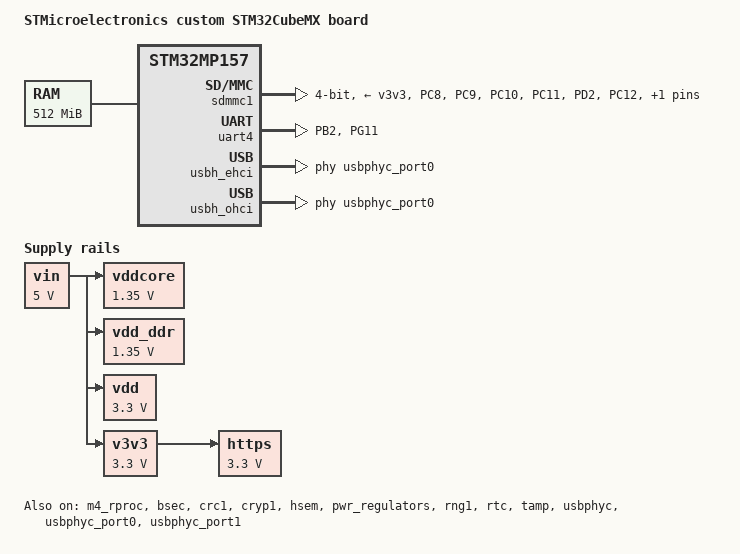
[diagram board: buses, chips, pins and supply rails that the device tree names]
/* SPDX-License-Identifier: (GPL-2.0+ OR BSD-3-Clause) */
/*
 * Copyright (C) STMicroelectronics 2021 - All Rights Reserved
 * Author: STM32CubeMX code generation for STMicroelectronics.
 */

/* For more information on Device Tree configuration, please refer to
 * https://wiki.st.com/stm32mpu/wiki/Category:Device_tree_configuration
 */

/dts-v1/;
#include <dt-bindings/pinctrl/stm32-pinfunc.h>

#include "stm32mp157.dtsi"
#include "stm32mp15xf.dtsi"
#include "stm32mp15xxab-pinctrl.dtsi"
#include "stm32mp15-m4-srm.dtsi"

/* USER CODE BEGIN includes */
#include <dt-bindings/gpio/gpio.h>
#include <dt-bindings/mfd/st,stpmic1.h>
#include <dt-bindings/rtc/rtc-stm32.h>
/* USER CODE END includes */

/ {
	model = "STMicroelectronics custom STM32CubeMX board";
	compatible = "st,stm32mp157f-mp157fab_custom-mx", "st,stm32mp157";

	memory@c0000000 {
		device_type = "memory";
		reg = <0xc0000000 0x20000000>;

		/* USER CODE BEGIN memory */
		/* USER CODE END memory */
	};

	reserved-memory {
		#address-cells = <1>;
		#size-cells = <1>;
		ranges;

		/* USER CODE BEGIN reserved-memory */
		mcuram2:mcuram2@10000000{
			compatible = "shared-dma-pool";
			reg = <0x10000000 0x40000>;
			no-map;
		};

		vdev0vring0:vdev0vring0@10040000{
			compatible = "shared-dma-pool";
			reg = <0x10040000 0x1000>;
			no-map;
		};

		vdev0vring1:vdev0vring1@10041000{
			compatible = "shared-dma-pool";
			reg = <0x10041000 0x1000>;
			no-map;
		};

		vdev0buffer:vdev0buffer@10042000{
			compatible = "shared-dma-pool";
			reg = <0x10042000 0x4000>;
			no-map;
		};

		mcuram:mcuram@30000000{
			compatible = "shared-dma-pool";
			reg = <0x30000000 0x40000>;
			no-map;
		};

		retram:retram@38000000{
			compatible = "shared-dma-pool";
			reg = <0x38000000 0x10000>;
			no-map;
		};

		gpu_reserved:gpu@d4000000{
			reg = <0xd4000000 0x4000000>;
			no-map;
		};
		/* USER CODE END reserved-memory */
	};

	/* USER CODE BEGIN root */
	usb_phy_tuning:usb-phy-tuning{
		st,hs-dc-level = <2>;
		st,fs-rftime-tuning;
		st,hs-rftime-reduction;
		st,hs-current-trim = <15>;
		st,hs-impedance-trim = <1>;
		st,squelch-level = <3>;
		st,hs-rx-offset = <2>;
		st,no-lsfs-sc;
	};
	
	aliases{
		serial0 = &uart4;
	};
	
	chosen{
		stdout-path = "serial0:115200n8";
	};
	
	vin: vin {
		compatible = "regulator-fixed";
		regulator-name = "vin";
		regulator-min-microvolt = <5000000>;
		regulator-max-microvolt = <5000000>;
		regulator-always-on;
	};
	
	// http://www.ti.com/lit/ds/symlink/tps54202.pdf
    vddcore: TPS54202 {
    	
      compatible = "regulator-fixed";
      regulator-name = "vddcore";
      regulator-min-microvolt = <1350000>;
      regulator-max-microvolt = <1350000>;
      regulator-always-on;
      vin-supply = <&vin>;

    };
    
    // http://www.ti.com/lit/ds/symlink/tps54202.pdf
    vdd_ddr: TPS54202 {

        compatible = "regulator-fixed";
        regulator-name = "vdd_ddr";
        regulator-min-microvolt = <1350000>;
        regulator-max-microvolt = <1350000>;
        regulator-always-on;
        vin-supply = <&vin>;
    };
    
    // https://datasheet.lcsc.com/szlcsc/1912111437_Seaward-Elec-SE8233X2_C437587.pdf
    vdd: SE8233X2 {

        compatible = "regulator-fixed";
        regulator-name = "vdd";
        regulator-min-microvolt = <3300000>;
        regulator-max-microvolt = <3300000>;
        regulator-always-on;
        vin-supply = <&vin>;
    };
    
    // https://datasheet.lcsc.com/szlcsc/1912111437_Seaward-Elec-SE8233X2_C437587.pdf
    v3v3: SE8233X2 {
    	
        compatible = "regulator-fixed";
        regulator-name = "v3v3";
      
        regulator-max-microvolt = <3300000>;
        regulator-always-on;
        vin-supply = <&vin>;
    	
    };
    
    https://datasheet.octopart.com/DMG2302U-7-Diodes-Inc.-datasheet-103571615.pdf
    vdd_usb: DMG2302U {
        compatible = "regulator-fixed";
		regulator-name = "vdd_usb";
		regulator-min-microvolt = <3300000>;
		regulator-max-microvolt = <3300000>;
		regulator-always-on;
		vin-supply = <&v3v3>;
    };

	
	/* USER CODE END root */

	clocks {
		/* USER CODE BEGIN clocks */
		/* USER CODE END clocks */

#ifndef CONFIG_TFABOOT
		clk_lsi: clk-lsi {
			clock-frequency = <32000>;
		};
		clk_hsi: clk-hsi {
			clock-frequency = <64000000>;
		};
		clk_csi: clk-csi {
			clock-frequency = <4000000>;
		};
		clk_lse: clk-lse {
			clock-frequency = <32768>;
		};
		clk_hse: clk-hse {
			clock-frequency = <24000000>;
		};
#endif	/*CONFIG_TFABOOT*/
	};

}; /*root*/

&pinctrl {
	u-boot,dm-pre-reloc;

	sdmmc1_pins_mx: sdmmc1_mx-0 {
		u-boot,dm-pre-reloc;
		pins1 {
			u-boot,dm-pre-reloc;
			pinmux = <STM32_PINMUX('C', 8, AF12)>, /* SDMMC1_D0 */
					 <STM32_PINMUX('C', 9, AF12)>, /* SDMMC1_D1 */
					 <STM32_PINMUX('C', 10, AF12)>, /* SDMMC1_D2 */
					 <STM32_PINMUX('C', 11, AF12)>, /* SDMMC1_D3 */
					 <STM32_PINMUX('D', 2, AF12)>; /* SDMMC1_CMD */
			bias-disable;
			drive-push-pull;
			slew-rate = <1>;
		};
		pins2 {
			u-boot,dm-pre-reloc;
			pinmux = <STM32_PINMUX('C', 12, AF12)>; /* SDMMC1_CK */
			bias-disable;
			drive-push-pull;
			slew-rate = <3>;
		};
	};

	sdmmc1_opendrain_pins_mx: sdmmc1_opendrain_mx-0 {
		u-boot,dm-pre-reloc;
		pins1 {
			u-boot,dm-pre-reloc;
			pinmux = <STM32_PINMUX('C', 8, AF12)>, /* SDMMC1_D0 */
					 <STM32_PINMUX('C', 9, AF12)>, /* SDMMC1_D1 */
					 <STM32_PINMUX('C', 10, AF12)>, /* SDMMC1_D2 */
					 <STM32_PINMUX('C', 11, AF12)>; /* SDMMC1_D3 */
			bias-disable;
			drive-push-pull;
			slew-rate = <1>;
		};
		pins2 {
			u-boot,dm-pre-reloc;
			pinmux = <STM32_PINMUX('C', 12, AF12)>; /* SDMMC1_CK */
			bias-disable;
			drive-push-pull;
			slew-rate = <3>;
		};
		pins3 {
			u-boot,dm-pre-reloc;
			pinmux = <STM32_PINMUX('D', 2, AF12)>; /* SDMMC1_CMD */
			bias-disable;
			drive-open-drain;
			slew-rate = <1>;
		};
	};

	sdmmc1_sleep_pins_mx: sdmmc1_sleep_mx-0 {
		u-boot,dm-pre-reloc;
		pins {
			u-boot,dm-pre-reloc;
			pinmux = <STM32_PINMUX('C', 8, ANALOG)>, /* SDMMC1_D0 */
					 <STM32_PINMUX('C', 9, ANALOG)>, /* SDMMC1_D1 */
					 <STM32_PINMUX('C', 10, ANALOG)>, /* SDMMC1_D2 */
					 <STM32_PINMUX('C', 11, ANALOG)>, /* SDMMC1_D3 */
					 <STM32_PINMUX('C', 12, ANALOG)>, /* SDMMC1_CK */
					 <STM32_PINMUX('D', 2, ANALOG)>; /* SDMMC1_CMD */
		};
	};

	uart4_pins_mx: uart4_mx-0 {
		u-boot,dm-pre-reloc;
		pins1 {
			u-boot,dm-pre-reloc;
			pinmux = <STM32_PINMUX('B', 2, AF8)>; /* UART4_RX */
			bias-disable;
		};
		pins2 {
			u-boot,dm-pre-reloc;
			pinmux = <STM32_PINMUX('G', 11, AF6)>; /* UART4_TX */
			bias-disable;
			drive-push-pull;
			slew-rate = <0>;
		};
	};

	uart4_sleep_pins_mx: uart4_sleep_mx-0 {
		u-boot,dm-pre-reloc;
		pins {
			u-boot,dm-pre-reloc;
			pinmux = <STM32_PINMUX('B', 2, ANALOG)>, /* UART4_RX */
					 <STM32_PINMUX('G', 11, ANALOG)>; /* UART4_TX */
		};
	};

	/* USER CODE BEGIN pinctrl */
	/* USER CODE END pinctrl */
};

&pinctrl_z {
	u-boot,dm-pre-reloc;

	/* USER CODE BEGIN pinctrl_z */
	/* USER CODE END pinctrl_z */
};

&m4_rproc{
	/*Restriction: "memory-region" property is not managed - please to use User-Section if needed*/
	mboxes = <&ipcc 0>, <&ipcc 1>, <&ipcc 2>;
	mbox-names = "vq0", "vq1", "shutdown";
	status = "okay";

	/* USER CODE BEGIN m4_rproc */
	memory-region = <&retram>, <&mcuram>, <&mcuram2>, <&vdev0vring0>,
			<&vdev0vring1>, <&vdev0buffer>;
	interrupt-parent = <&exti>;
	interrupts = <68 1>;
	wakeup-source;
	/* USER CODE END m4_rproc */
};

&bsec{
	status = "okay";

	/* USER CODE BEGIN bsec */
	/* USER CODE END bsec */
};

&crc1{
	status = "okay";

	/* USER CODE BEGIN crc1 */
	/* USER CODE END crc1 */
};

&cryp1{
	u-boot,dm-pre-reloc;
	status = "okay";

	/* USER CODE BEGIN cryp1 */
	/* USER CODE END cryp1 */
};

&dma1{
	status = "okay";

	/* USER CODE BEGIN dma1 */
	sram = <&dma_pool>;
	/* USER CODE END dma1 */
};

&dma2{
	status = "okay";

	/* USER CODE BEGIN dma2 */
	/* USER CODE END dma2 */
};

&dmamux1{

	dma-masters = <&dma1 &dma2>;
	dma-channels = <16>;

	status = "okay";

	/* USER CODE BEGIN dmamux1 */
	/* USER CODE END dmamux1 */
};

&hsem{
	status = "okay";

	/* USER CODE BEGIN hsem */
	/* USER CODE END hsem */
};

&ipcc{
	status = "okay";

	/* USER CODE BEGIN ipcc */
	/* USER CODE END ipcc */
};

&mdma1{
	status = "okay";

	/* USER CODE BEGIN mdma1 */
	/* USER CODE END mdma1 */
};

&pwr_regulators{
	status = "okay";

	/* USER CODE BEGIN pwr_regulators */
	vdd-supply = <&vdd>;
	vdd_3v3_usbfs-supply = <&vdd_usb>;
	/* USER CODE END pwr_regulators */
};

&rcc{
	u-boot,dm-pre-reloc;
	status = "okay";

	/* USER CODE BEGIN rcc */
	/* USER CODE END rcc */
};

&rng1{
	status = "okay";

	/* USER CODE BEGIN rng1 */
	/* USER CODE END rng1 */
};

&rtc{
	status = "okay";

	/* USER CODE BEGIN rtc */
	/* USER CODE END rtc */
};

&sdmmc1{
	u-boot,dm-pre-reloc;
	pinctrl-names = "default", "opendrain", "sleep";
	pinctrl-0 = <&sdmmc1_pins_mx>;
	pinctrl-1 = <&sdmmc1_opendrain_pins_mx>;
	pinctrl-2 = <&sdmmc1_sleep_pins_mx>;
	status = "okay";

	/* USER CODE BEGIN sdmmc1 */
	cd-gpios = <&gpiob 7 (GPIO_ACTIVE_LOW | GPIO_PULL_UP)>;
	disable-wp;
	st,neg-edge;
	bus-width = <4>;
	vmmc-supply = <&v3v3>;
	/* USER CODE END sdmmc1 */
};

&tamp{
	status = "okay";

	/* USER CODE BEGIN tamp */
	/* USER CODE END tamp */
};

&uart4{
	u-boot,dm-pre-reloc;
	pinctrl-names = "default", "sleep";
	pinctrl-0 = <&uart4_pins_mx>;
	pinctrl-1 = <&uart4_sleep_pins_mx>;
	status = "okay";

	/* USER CODE BEGIN uart4 */
	/delete-property/ dmas;
	/delete-property/ dma-names;
	/* USER CODE END uart4 */
};

&usbh_ehci{
	status = "okay";

	/* USER CODE BEGIN usbh_ehci */
	phys = <&usbphyc_port0>;
	/* USER CODE END usbh_ehci */
};

&usbh_ohci{
	status = "okay";

	/* USER CODE BEGIN usbh_ohci */
	/* USER CODE END usbh_ohci */
};

&usbphyc{
	status = "okay";

	/* USER CODE BEGIN usbphyc */
	/* USER CODE END usbphyc */
};

&usbphyc_port0{
	status = "okay";

	/* USER CODE BEGIN usbphyc_port0 */
	phy-supply = <&vdd_usb>;
	st,phy-tuning = <&usb_phy_tuning>;
	/* USER CODE END usbphyc_port0 */
};

&usbphyc_port1{
	status = "okay";

	/* USER CODE BEGIN usbphyc_port1 */
	phy-supply = <&vdd_usb>;
	st,phy-tuning = <&usb_phy_tuning>;
	/* USER CODE END usbphyc_port1 */
};

/* USER CODE BEGIN addons */

&usbh_ohci{
	phys = <&usbphyc_port0>;
};

&cpu0{
	cpu-supply = <&vddcore>;
};

&cpu1{
	cpu-supply = <&vddcore>;
};

&sram{

	dma_pool:dma_pool@0{
		reg = <0x50000 0x10000>;
		pool;
	};
};

/* USER CODE END addons */

